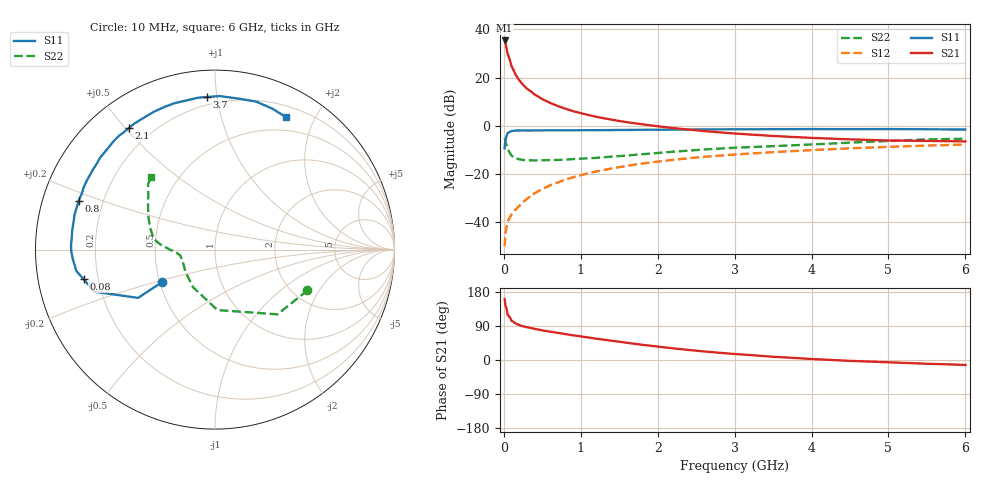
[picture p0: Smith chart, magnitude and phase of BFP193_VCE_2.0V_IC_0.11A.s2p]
! Infineon Technologies  Discrete & RF Semiconductors
! BFP193
! VCE =  2.0 V,  IC = 0.11 A
! Common Emitter S-Parameters:  Jan 2017
# GHz  S  MA  R  50
!  f  S11  S21  S12  S22
! GHz  MAG  ANG  MAG  ANG  MAG  ANG  MAG  ANG
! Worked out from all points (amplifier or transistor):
!   77 points, 10 MHz to 6 GHz, reference 50 ohm
!   highest |S21| = 35.4 dB at 10 MHz (marker M1)
!   |S21| within 3 dB of that: start of sweep to 33 MHz
!   unconditionally stable (mu >= 1): start of sweep to 17.87 MHz; 152 MHz to end of sweep
!   at 130 MHz: K = 0.94, MSG = 29.2 dB, |S12| = -35.5 dB
!   at 2.2 GHz: K = 1.08, MAG = 4.9 dB, |S12| = -14.1 dB
!   at 6 GHz: K = 1.06, MAG = -0.8 dB, |S12| = -7.8 dB
!   S11 on the Smith chart (normalised r, x): 10 MHz: 0.52, -0.21; 80 MHz: 0.14, -0.11; 800 MHz: 0.11, +0.17; 2.1 GHz: 0.12, +0.51; 3.7 GHz: 0.15, +0.94; 6 GHz: 0.33, +1.62
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0.01  0.3446 -148.4  58.72 160.9  0.0032 69.4  0.5631 -23.8
0.02  0.5061 -147.9  51.49 145.3  0.0057 62.9  0.5014 -46.0
0.05  0.7114 -160.7  30.95 118.8  0.0103 51.0  0.3373 -87.6
0.08  0.7506 -167.3  22.47 111.8  0.0128 56.7  0.2696 -104.5
0.1  0.7817 -171.3  17.17 103.3  0.0145 59.4  0.2432 -120.1
0.15  0.7947 -176.4  11.68 96.7  0.0182 62.3  0.2126 -136.3
0.2  0.8013 -179.5  8.816 92.3  0.0218 66.8  0.2022 -146.0
0.25  0.8026 178.0  7.072 89.0  0.0263 67.0  0.1958 -151.8
0.3  0.8009 175.9  5.901 86.5  0.0305 69.0  0.1932 -156.7
0.4  0.8028 172.2  4.454 82.0  0.0398 70.5  0.1914 -161.9
0.5  0.8031 168.9  3.569 78.3  0.0488 71.7  0.1929 -165.4
0.6  0.8066 165.9  2.993 74.8  0.0583 71.0  0.1949 -168.1
0.8  0.807 160.2  2.26 68.3  0.0769 70.4  0.1993 -171.3
0.9  0.8051 157.4  2.013 65.2  0.0857 69.1  0.2041 -172.5
1.1  0.8113 152.0  1.672 59.4  0.1044 67.1  0.2121 -174.7
1.5  0.8198 141.3  1.258 48.2  0.1391 61.9  0.2357 -178.5
2.1  0.8299 125.4  0.937 33.1  0.1888 53.4  0.2815 176.7
3.1  0.8455 103.7  0.676 14.5  0.2593 39.2  0.3562 167.1
3.7  0.8512 93.1  0.593 6.3  0.2956 31.5  0.3905 158.9
4.1  0.8537 86.8  0.554 1.7  0.3189 26.5  0.4172 152.8
5.1  0.8534 73.1  0.494 -6.8  0.3705 14.1  0.4929 139.0
6  0.8378 62.0  0.475 -13.0  0.4095 3.7  0.5396 131.4
